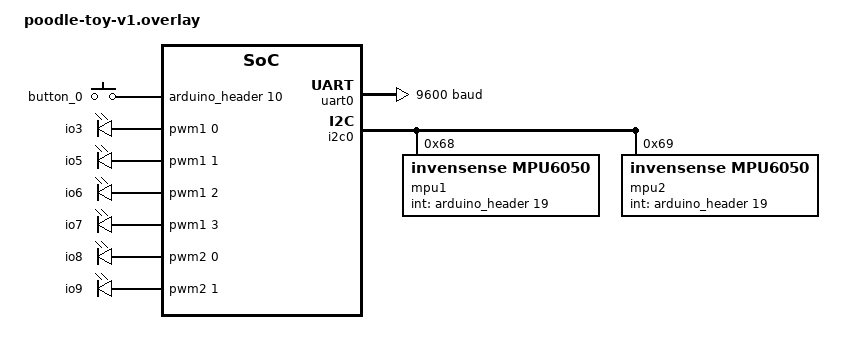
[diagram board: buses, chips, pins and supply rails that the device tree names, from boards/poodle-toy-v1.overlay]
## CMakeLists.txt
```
# SPDX-License-Identifier: Apache-2.0

cmake_minimum_required(VERSION 3.20.0)

find_package(Zephyr REQUIRED HINTS $ENV{ZEPHYR_BASE})
project(puppy_drone)

# Verify that this sample is built through sysbuild to ensure MCUboot is
# automatically included and that sample specific MCUboot configurations are
# used when building MCUboot.
test_sysbuild()

target_sources(app PRIVATE src/main.c src/pid.c)
```

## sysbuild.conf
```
SB_CONFIG_BOOTLOADER_MCUBOOT=y
SB_CONFIG_MCUBOOT_MODE_SINGLE_APP_RAM_LOAD=y
SB_CONFIG_BOOT_SIGNATURE_TYPE_NONE=y
```

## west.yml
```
manifest:
    remotes:
        - name: caninos
          url-base: https://github.com/caninos-loucos

    projects:
        - name: puppy-zephyr
          remote: caninos
          revision: main
          path: zephyr
          import:
              name-allowlist:
                  - mcuboot
                  - zcbor
                  - fatfs
                  - littlefs
```

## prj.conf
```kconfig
# Empty file
CONFIG_CBPRINTF_FP_SUPPORT=y
CONFIG_PWM=y
CONFIG_GPIO=y
CONFIG_I2C=y
CONFIG_SENSOR=y
CONFIG_MPU6050=y
CONFIG_SERIAL=y
CONFIG_LOG=y
CONFIG_LOG_MODE_MINIMAL=y
```

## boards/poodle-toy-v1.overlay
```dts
/ {

    
	aliases {
		pwm-motor0 = &pwm_led0;
		pwm-motor1 = &pwm_led1;
		pwm-motor2 = &pwm_led2;
		pwm-motor3 = &pwm_led3;
		pwm-motor4 = &pwm_led4;
		pwm-motor5 = &pwm_led5;
		button0 = &button_0;
	};

	gpio_keys {
		compatible = "gpio-keys";
		button_0: button_0 {
			gpios = <&arduino_header 10 0>;
		};
	};

	pwmleds {
		compatible = "pwm-leds";
		pwm_led0: pwm_led_0 {
			pwms = <&pwm1 0 2500000 0>;
			label = "io3";
		};
		pwm_led1: pwm_led_1 {
			pwms = <&pwm1 1 2500000 0>;
			label = "io5";
		};
		pwm_led2: pwm_led_2 {
			pwms = <&pwm1 2 2500000 0>;
			label = "io6";
		};
		pwm_led3: pwm_led_3 {
			pwms = <&pwm1 3 2500000 0>;
			label = "io7";
		};
		pwm_led4: pwm_led_4 {
			pwms = <&pwm2 0 2500000 0>;
			label = "io8";
		};
		pwm_led5: pwm_led_5 {
			pwms = <&pwm2 1 2500000 0>;
			label = "io9";
		};
	};
};

&uart0{
	status = "okay";
	current-speed=<9600>;
};

&i2c0 {
	mpu1: mpu1@68 {
		compatible = "invensense,mpu6050";
		reg = <0x68>;
		status = "okay";

		/* Resolution / Full-scale configuration */
		accel-fs = <2>;       /* Valid values: 2, 4, 8, 16 (in +/- g) */
		gyro-fs = <250>;      /* Valid values: 250, 500, 1000, 2000 (in +/- deg/s) */

		int-gpios = <&arduino_header 19 GPIO_ACTIVE_HIGH>;

		/* Sample rate divider (baserate / (1 + X)) */
		smplrt-div = <0>;     /* 0 means 1kHz for accel, 8kHz for gyro */
	};
	mpu2: mpu2@69 {
		compatible = "invensense,mpu6050";
		reg = <0x69>;
		status = "okay";

		/* Resolution / Full-scale configuration */
		accel-fs = <2>;       /* Valid values: 2, 4, 8, 16 (in +/- g) */
		gyro-fs = <250>;      /* Valid values: 250, 500, 1000, 2000 (in +/- deg/s) */

		int-gpios = <&arduino_header 19 GPIO_ACTIVE_HIGH>;

		/* Sample rate divider (baserate / (1 + X)) */
		smplrt-div = <0>;     /* 0 means 1kHz for accel, 8kHz for gyro */
	};
};
```

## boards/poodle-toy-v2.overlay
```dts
/ {
	aliases {
		pwm-motor0 = &pwm_led0;
		pwm-motor1 = &pwm_led1;
		pwm-motor2 = &pwm_led2;
		pwm-motor3 = &pwm_led3;
		button0 = &button_0;
	};

	gpio_keys {
		compatible = "gpio-keys";
		button_0: button_0 {
			gpios = <&arduino_header 10 GPIO_ACTIVE_HIGH>;
		};
	};

	pwmleds {
		compatible = "pwm-leds";
		pwm_led0: pwm_led_0 {
			pwms = <&pwm1 0 2500000 0>;
			label = "io3";
		};
		pwm_led1: pwm_led_1 {
			pwms = <&pwm1 1 2500000 0>;
			label = "io5";
		};
		pwm_led2: pwm_led_2 {
			pwms = <&pwm1 2 2500000 0>;
			label = "io6";
		};
		pwm_led3: pwm_led_3 {
			pwms = <&pwm1 3 2500000 0>;
			label = "io7";
		};
	};
};


&i2c0 {
	mpu1: mpu1@68 {
		compatible = "invensense,mpu6050";
		reg = <0x68>;
		status = "okay";

		/* Resolution / Full-scale configuration */
		accel-fs = <2>;       /* Valid values: 2, 4, 8, 16 (in +/- g) */
		gyro-fs = <250>;      /* Valid values: 250, 500, 1000, 2000 (in +/- deg/s) */

		int-gpios = <&arduino_header 19 GPIO_ACTIVE_HIGH>;

		/* Sample rate divider (baserate / (1 + X)) */
		smplrt-div = <0>;     /* 0 means 1kHz for accel, 8kHz for gyro */
	};
};
```

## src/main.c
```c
/* SPDX-License-Identifier: Apache-2.0
 */

/**
 * @file Sample app to demonstrate PWM.
 */

#include <zephyr/device.h>
#include <zephyr/drivers/gpio.h>
#include <zephyr/drivers/pwm.h>
#include <zephyr/drivers/sensor.h>
#include <zephyr/kernel.h>
#include <zephyr/sys/printk.h>
#include <zephyr/drivers/uart.h>

static const struct device *uart_dev = DEVICE_DT_GET(DT_NODELABEL(uart0));

static const struct device *const imu1 = DEVICE_DT_GET(DT_NODELABEL(mpu1));

static const struct device *const imu2 = DEVICE_DT_GET(DT_NODELABEL(mpu2));


static const struct pwm_dt_spec pwm_motor0 =
    PWM_DT_SPEC_GET(DT_ALIAS(pwm_motor0));

static const struct pwm_dt_spec pwm_motor1 =
    PWM_DT_SPEC_GET(DT_ALIAS(pwm_motor1));

static const struct pwm_dt_spec pwm_motor2 =
    PWM_DT_SPEC_GET(DT_ALIAS(pwm_motor2));

static const struct pwm_dt_spec pwm_motor3 =
    PWM_DT_SPEC_GET(DT_ALIAS(pwm_motor3));

static const struct pwm_dt_spec pwm_motor4 =
    PWM_DT_SPEC_GET(DT_ALIAS(pwm_motor4));

static const struct pwm_dt_spec pwm_motor5 =
    PWM_DT_SPEC_GET(DT_ALIAS(pwm_motor5));

static const struct gpio_dt_spec button =
    GPIO_DT_SPEC_GET_OR(DT_ALIAS(button0), gpios, {0});

#define PERIOD 2500000
#define NUM_PWMS 6

  // CONSTANTES DE CONTROLE
#define kpp 42000
#define kpr 42000
#define kdp 8000
#define kdr 8000
#define kip 250
#define kir 250
#define MAXIPITCH 150
#define MAXIROLL 150

  // saturações motores



static const struct pwm_dt_spec *pwms[6] = {&pwm_motor0, &pwm_motor1,
                                            &pwm_motor2, &pwm_motor3,
                                            &pwm_motor4, &pwm_motor5};

int main(void) {


	if (!device_is_ready(imu1)) {
		printf("1 não foi");
		return 0;
	}

  if (!device_is_ready(imu2)) {
		printf("2 não foi");
		return 0;
	}
  struct sensor_value gyro1[3];
  struct sensor_value accel1[3];
  struct sensor_value accel2[3];
  int32_t period = PERIOD;
  int32_t duty = 4 * PERIOD / 10 ; //duty de 40% para conexão com escs
  int32_t base = 47 * PERIOD / 100;

  double pitch = 0;
  double roll = 0;
  double ipitch = 0;
  double iroll = 0;
  double dpitch = 0;
  double droll = 0;
  double yaw = 0;
  double p1 = 0;
  double r1 = 0;
  double p2 = 0;
  double r2 = 0;
  uint8_t c = 0;
  uint8_t x = 0;
  uint8_t y = 0;
  int32_t dutymax = 7 * PERIOD /10;
  int32_t dutymin = 41 * PERIOD /100;
  double oldpitch = 0;
  double oldroll = 0;
  double calibp = 0;
  double calibr = 0;

  double rawpitch =0;
  double rawroll = 0;

  int ret;
  int32_t duty0 = 0;
  int32_t duty1 = 0;
  int32_t duty2 = 0;
  int32_t duty3 = 0;
  int flagbyte = 0;
  int flagcair = 0;
  //offset para controle
  double offp = 0;
  double offr = 0;

  double entrp = 0; 
  double entrr = 0;



  if (!gpio_is_ready_dt(&button)) {
    printk("Error: Button is not Ready\n");
    return 0;
  }

  gpio_pin_configure_dt(&button, GPIO_INPUT);

  for (int i = 0; i < NUM_PWMS; i++) {
    if (!pwm_is_ready_dt(pwms[i])) {
      printk("Error: PWM device %s is not ready\n", pwms[i]->dev->name);
      return 0;
    }
  }

  for (int i = 0; i < NUM_PWMS; i++) {
    ret = pwm_set_dt(pwms[i], period, duty);
  }

  printk("Connecting ESCs, wait 5 seconds for setup\n");

   k_usleep(5000000);

  if (!gpio_pin_get_dt(&button)) { // se botão ligado, avisar antes de entrar no loop
    while (!gpio_pin_get_dt(&button)){
      printk ("Desligue o botão e ligue de novo para iniciar");
      k_usleep (500000);
    }
  }

  while (1) {
   if (uart_poll_in(uart_dev, &c) == 0) {
        if (c == 240){
          calibp = rawpitch/2;
          calibr = rawroll/2;
          ipitch = 0;
          iroll = 0;
          printk ("CALIBRADO %f,%f\n", calibp, calibr);

        }
        if (c == 255){
          flagbyte = 1;
        }
        else if (c == 0){
          flagbyte = 0;
          entrp = 0;
          entrr = 0;
        }
        else {
          y = c / 16;
          x = c % 16;
          //printk ("r %d e %d \n", x, y);
          if (flagbyte)
          {
            entrp = (x-8) * 0.08;
            entrr = (y-8) * 0.08;
          }
        
        } 
   }else {
           k_usleep(500);
   }

   if (entrp > offp){
    offp = offp + 0.01;
   }

      if (entrp < offp){
    offp = offp - 0.01;
   }

      if (entrr > offr){
    offr = offr + 0.01;
   }

      if (entrr < offr){
    offr = offr - 0.01;
   }

    if (flagcair){
      printk ("b : %d offs: %f e %f ",flagbyte,offp,offr);
    }

    //lendo sensor

    sensor_sample_fetch(imu1);
    sensor_channel_get(imu1, SENSOR_CHAN_ACCEL_XYZ, accel1);
    sensor_channel_get(imu1, SENSOR_CHAN_GYRO_XYZ, gyro1);
    sensor_sample_fetch(imu2);
    sensor_channel_get(imu2, SENSOR_CHAN_ACCEL_XYZ, accel2);

    //se quiser printar accell
    //printk("Accel: X=%f, Y=%f, Z=%f m/s^2\n",sensor_value_to_double(&accel[0]),sensor_value_to_double(&accel[1]),sensor_value_to_double(&accel[2]));

    p1 = - sensor_value_to_double(&accel1[0])/2;
    p2 = - sensor_value_to_double(&accel2[0])/2;
    r1 = - sensor_value_to_double(&accel1[1])/2;
    r2 = - sensor_value_to_double(&accel2[1])/2;
    rawpitch = p1 + p2;
    rawroll =  r1 + r2; 
    p1 = p1 - calibp;
    p2 = p2 - calibp;
    r1 = r1 - calibr;
    r2 = r2 - calibr;

    if (abs(p1 + p2)> 3 || abs(r1 + r2)> 3){
      flagcair = 1;
    } else {
      flagcair = 0;
    }



    //atualizando o controle
    dpitch =  sensor_value_to_double(&gyro1[1]);
    droll =  sensor_value_to_double(&gyro1[0]);

    //pitch =  (p1 + p2 + oldpitch)/2 + offp;
    //roll =  (r1 + r2 + oldroll)/2 + offr;
    //oldpitch = p1 + p2;
    //oldroll = r1 + r2;
    pitch = p1 + p2 + offp;
    roll = r1 + r2 + offr;

    ipitch += pitch + offp;
    iroll += roll + offr;

    //CONTAS em NANOSEGUNDOS (2500000 é 100%)
    duty0 = base - ((kpp * pitch) - (kdp * dpitch) + (kip * ipitch)) + ((kpr * roll) - (kdr * droll) + (kir * iroll));
    duty1 = base + ((kpp * pitch) - (kdp * dpitch) + (kip * ipitch)) - ((kpr * roll) - (kdr * droll) + (kir * iroll));
    duty2 = base - ((kpp * pitch) - (kdp * dpitch) + (kip * ipitch)) - ((kpr * roll) - (kdr * droll) + (kir * iroll));
    duty3 = base + ((kpp * pitch) - (kdp * dpitch) + (kip * ipitch)) + ((kpr * roll) - (kdr * droll) + (kir * iroll));

      //MOTOR1:
      if (duty0 > dutymax){
                printk("satura\n");
        duty0 = dutymax;
      } else if (duty0 < dutymin){
        duty0 = dutymin;
      } 


      //MOTOR2:
      if (duty1 > dutymax){
        printk("satura\n");
        duty1 = dutymax;
      } else if (duty1 < dutymin){
        duty1 = dutymin;
      } 

      //MOTOR3:
      if (duty2 > dutymax){
                printk("satura\n");
        duty2 = dutymax;
      } else if (duty2 < dutymin){
        duty2 = dutymin;
      } 

      //MOTOR4:
      if (duty3 > dutymax){
                printk("satura\n");
        duty3 = dutymax;
      } else if (duty3 < dutymin){
        duty3 = dutymin;
      } 

    if (iroll > MAXIROLL){
      iroll = MAXIROLL;
    }

    if (iroll < -MAXIROLL){
      iroll =  - MAXIROLL;
    }

    if (ipitch > MAXIPITCH){
      ipitch = MAXIPITCH;
    }

    if (ipitch < -MAXIPITCH){
      ipitch = - MAXIPITCH;
    }

    if (!gpio_pin_get_dt(&button) && !flagcair) { 
        pwm_set_dt(pwms[0], period, duty0);
        pwm_set_dt(pwms[1], period, duty1);
        pwm_set_dt(pwms[2], period, duty2);
        pwm_set_dt(pwms[3], period, duty3);
        printk("%d: P = %f R = %f \n",flagbyte , pitch + offp, roll + offr);


    } else { // sem botão, deligar PWM
        pwm_set_dt(pwms[0], period, duty);
        pwm_set_dt(pwms[1], period, duty);
        pwm_set_dt(pwms[2], period, duty);
        pwm_set_dt(pwms[3], period, duty);
        yaw = 0;
        ipitch = 0;
        iroll = 0;
        printk ("P = %f R = %f delta = %f \n", pitch, roll, dpitch);
        //printk ("dutys: 1 = %d 2 = %d 3 = %d 4 = %d  certo = %d \n", (duty0 * 100)/ PERIOD , (duty1 * 100)/ PERIOD, (duty2 * 100)/ PERIOD, (duty3 * 100)/ PERIOD , (duty * 100)/ PERIOD);
        //printk ("offset: P = %f R = %f\n", offp, offr);
    }
  }

  return 0;
}
```

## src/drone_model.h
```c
#ifndef DRONE_MODEL_H
#define DRONE_MODEL_H

#include <zephyr/drivers/sensor.h>

#define CONNECT_DUTY PERIOD * 0.4f
#define BASE_DUTY PERIOD * 0.44f
#define DUTY_MAX PERIOD * 0.7f
#define DUTY_MIN PERIOD * 0.4f

#define Kp_roll  0.005f
#define Kd_roll  0.001f

#define Kp_pitch 0.005f
#define Kd_pitch 0.001f

struct drone_model {
        float duty_x_P;
        float duty_x_N;
        float duty_y_P;
        float duty_y_N;
        struct sensor_value acc[3];
        struct sensor_value gyro[3];
        uint32_t last_sample_timestamp;
};

#endif
```

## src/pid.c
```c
#include "pid.h"
#include "drone_model.h"
#include <math.h>
/*
 * ax, ay, az -> acelerômetro
 * vx, vy     -> giroscópio em graus/s
 */
void controller(float ax, float ay, float az, float vx, float vy,
                float *roll_duty_P, float *roll_duty_N, float *pitch_duty_P, float *pitch_duty_N) {
  /* Calcula orientação assumindo que a aceleração não é maiora que a gravidade
   */
  float roll = atan2f(ay, az) * RAD_TO_DEG;

  float pitch = atan2f(-ax, sqrtf(ay * ay + az * az)) * RAD_TO_DEG;

  /* Referências */
  float roll_ref = 0.0f;
  float pitch_ref = 0.0f;

  /* Erros */
  float roll_error = roll_ref - roll;

  float pitch_error = pitch_ref - pitch;

  /* Controle PD */
  *roll_duty_P = DUTY_REF + Kp_roll * roll_error - Kd_roll * vx;
  *roll_duty_N = DUTY_REF - Kp_roll * roll_error + Kd_roll * vx;

  *pitch_duty_P = DUTY_REF + Kp_pitch * pitch_error - Kd_pitch * vy;
  *pitch_duty_N = DUTY_REF - Kp_pitch * pitch_error + Kd_pitch * vy;

  /* Saturação */
  if (*roll_duty_P > 1.0f)
    *roll_duty_P = 1.0f;

  if (*roll_duty_P < 0.0f)
    *roll_duty_P = 0.0f;

  if (*pitch_duty_P > 1.0f)
    *pitch_duty_P = 1.0f;

  if (*pitch_duty_P < 0.0f)
    *pitch_duty_P = 0.0f;

  if (*roll_duty_N > 1.0f)
    *roll_duty_N = 1.0f;

  if (*roll_duty_N < 0.0f)
    *roll_duty_N = 0.0f;

  if (*pitch_duty_N > 1.0f)
    *pitch_duty_N = 1.0f;

  if (*pitch_duty_N < 0.0f)
    *pitch_duty_N = 0.0f;
}
```

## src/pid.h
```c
#ifndef PID_H
#define PID_H

#define RAD_TO_DEG (180.0f / 3.14159f)

#define DUTY_REF 0.4f

void controller(float ax, float ay, float az, float vx, float vy,
                float *roll_duty_P, float *roll_duty_N, float *pitch_duty_P, float *pitch_duty_N);
#endif 
```
